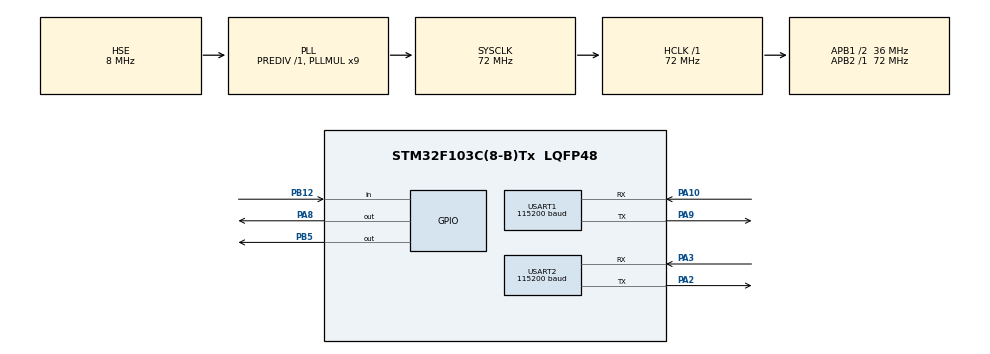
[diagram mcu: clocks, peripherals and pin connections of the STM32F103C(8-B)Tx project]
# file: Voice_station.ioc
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Dma.Request0=USART1_RX
Dma.Request1=USART1_TX
Dma.Request2=USART2_RX
Dma.Request3=USART2_TX
Dma.USART1_RX.0.Direction=DMA_PERIPH_TO_MEMORY
Dma.USART1_RX.0.Instance=DMA1_Channel5
Dma.USART1_RX.0.MemDataAlignment=DMA_MDATAALIGN_BYTE
Dma.USART1_RX.0.MemInc=DMA_MINC_ENABLE
Dma.USART1_RX.0.Mode=DMA_NORMAL
Dma.USART1_RX.0.PeriphDataAlignment=DMA_PDATAALIGN_BYTE
Dma.USART1_RX.0.PeriphInc=DMA_PINC_DISABLE
Dma.USART1_RX.0.Priority=DMA_PRIORITY_LOW
Dma.USART1_TX.1.Direction=DMA_MEMORY_TO_PERIPH
Dma.USART1_TX.1.Instance=DMA1_Channel4
Dma.USART1_TX.1.MemDataAlignment=DMA_MDATAALIGN_BYTE
Dma.USART1_TX.1.MemInc=DMA_MINC_ENABLE
Dma.USART1_TX.1.Mode=DMA_NORMAL
Dma.USART1_TX.1.PeriphDataAlignment=DMA_PDATAALIGN_BYTE
Dma.USART1_TX.1.PeriphInc=DMA_PINC_DISABLE
Dma.USART1_TX.1.Priority=DMA_PRIORITY_LOW
Dma.USART2_RX.2.Direction=DMA_PERIPH_TO_MEMORY
Dma.USART2_RX.2.Instance=DMA1_Channel6
Dma.USART2_RX.2.MemDataAlignment=DMA_MDATAALIGN_BYTE
Dma.USART2_RX.2.MemInc=DMA_MINC_ENABLE
Dma.USART2_RX.2.Mode=DMA_NORMAL
Dma.USART2_RX.2.PeriphDataAlignment=DMA_PDATAALIGN_BYTE
Dma.USART2_RX.2.PeriphInc=DMA_PINC_DISABLE
Dma.USART2_RX.2.Priority=DMA_PRIORITY_LOW
Dma.USART2_TX.3.Direction=DMA_MEMORY_TO_PERIPH
Dma.USART2_TX.3.Instance=DMA1_Channel7
Dma.USART2_TX.3.MemDataAlignment=DMA_MDATAALIGN_BYTE
Dma.USART2_TX.3.MemInc=DMA_MINC_ENABLE
Dma.USART2_TX.3.Mode=DMA_NORMAL
Dma.USART2_TX.3.PeriphDataAlignment=DMA_PDATAALIGN_BYTE
Dma.USART2_TX.3.PeriphInc=DMA_PINC_DISABLE
Dma.USART2_TX.3.Priority=DMA_PRIORITY_LOW
Mcu.Family=STM32F1
Mcu.Name=STM32F103C(8-B)Tx
Mcu.Package=LQFP48
NVIC.DMA1_Channel4_IRQn=true\:0\:0\:false\:false\:true\:false\:true\:true
NVIC.DMA1_Channel5_IRQn=true\:0\:0\:false\:false\:true\:false\:true\:true
NVIC.DMA1_Channel6_IRQn=true\:0\:0\:false\:false\:true\:false\:true\:true
NVIC.DMA1_Channel7_IRQn=true\:0\:0\:false\:false\:true\:false\:true\:true
NVIC.PriorityGroup=NVIC_PRIORITYGROUP_4
NVIC.TIM2_IRQn=true\:0\:0\:false\:false\:true\:true\:true\:true
NVIC.USART1_IRQn=true\:0\:0\:false\:false\:true\:true\:true\:true
NVIC.USART2_IRQn=true\:0\:0\:false\:false\:true\:true\:true\:true
PA10.Mode=Asynchronous
PA10.Signal=USART1_RX
PA13.Mode=Serial_Wire
PA13.Signal=SYS_JTMS-SWDIO
PA14.Mode=Serial_Wire
PA14.Signal=SYS_JTCK-SWCLK
PA2.Mode=Asynchronous
PA2.Signal=USART2_TX
PA3.Mode=Asynchronous
PA3.Signal=USART2_RX
PA8.Signal=GPIO_Output
PA9.Mode=Asynchronous
PA9.Signal=USART1_TX
PB12.GPIO_PuPd=GPIO_PULLUP
PB12.Signal=GPIO_Input
PB5.GPIO_PuPd=GPIO_NOPULL
PB5.PinState=GPIO_PIN_SET
PB5.Signal=GPIO_Output
PD0-OSC_IN.Mode=HSE-External-Oscillator
PD0-OSC_IN.Signal=RCC_OSC_IN
PD1-OSC_OUT.Mode=HSE-External-Oscillator
PD1-OSC_OUT.Signal=RCC_OSC_OUT
ProjectManager.HeapSize=0x200
ProjectManager.StackSize=0x400
ProjectManager.TargetToolchain=MDK-ARM V5
RCC.AHBFreq_Value=72000000
RCC.APB1CLKDivider=RCC_HCLK_DIV2
RCC.APB1Freq_Value=36000000
RCC.APB1TimFreq_Value=72000000
RCC.APB2Freq_Value=72000000
RCC.APB2TimFreq_Value=72000000
RCC.HCLKFreq_Value=72000000
RCC.PLLMUL=RCC_PLL_MUL9
RCC.PLLSourceVirtual=RCC_PLLSOURCE_HSE
RCC.SYSCLKFreq_VALUE=72000000
RCC.SYSCLKSource=RCC_SYSCLKSOURCE_PLLCLK
RCC.USBFreq_Value=72000000
TIM2.AutoReloadPreload=TIM_AUTORELOAD_PRELOAD_ENABLE
TIM2.Period=9
TIM2.Prescaler=7199
USART1.BaudRate=115200
USART1.VirtualMode=VM_ASYNC
USART2.BaudRate=115200
USART2.VirtualMode=VM_ASYNC
VP_TIM2_VS_ClockSourceINT.Mode=Internal
board=custom

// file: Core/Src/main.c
/* USER CODE BEGIN Header */
/**
  ******************************************************************************
  * @file           : main.c
  * @brief          : Main program body
  ******************************************************************************
  * @attention
  *
  * Copyright (c) 2025 STMicroelectronics.
  * All rights reserved.
  *
  * This software is licensed under terms that can be found in the LICENSE file
  * in the root directory of this software component.
  * If no LICENSE file comes with this software, it is provided AS-IS.
  *
  ******************************************************************************
  */
/* USER CODE END Header */
#include "main.h"
#include "dma.h"
#include "tim.h"
#include "usart.h"
#include "gpio.h"

/* USER CODE BEGIN Includes */
#include "headfile.h"
/* USER CODE END Includes */

/* USER CODE BEGIN PM */
uint8_t test=0x11;
/* USER CODE END PM */

/* USER CODE BEGIN PV */
uint8_t box_pos=0;
uint8_t box_num=0;
 char send_buffer2[50];

/* USER CODE END PV */

void SystemClock_Config(void);

int main(void)
{

  /* MCU Configuration--------------------------------------------------------*/

  /* Reset of all peripherals, Initializes the Flash interface and the Systick. */
  HAL_Init();

  /* Configure the system clock */
  SystemClock_Config();

  /* Initialize all configured peripherals */
  MX_GPIO_Init();
  MX_DMA_Init();
  MX_USART1_UART_Init();
  MX_USART2_UART_Init();
  MX_TIM2_Init();
  /* USER CODE BEGIN 2 */
	//Myusart_Init();
  HAL_TIM_Base_Start_IT(&htim2);//1msÄşĹ˝ÂÄÂĹ
  New_Myusart_Init();
	       // HAL_GPIO_TogglePin(GPIOC, GPIO_PIN_13);

  /* USER CODE END 2 */

  /* Infinite loop */
  while (1)
  {

    /* USER CODE BEGIN 3 */
	  Key();
	 // HAL_GPIO_WritePin(GPIOB, GPIO_PIN_5, GPIO_PIN_RESET);
if(Key_KeyNumber==1)
{
	HAL_GPIO_TogglePin(GPIOB,GPIO_PIN_5);
}
  if (delay_ms_nb_id(500, 0))
   {

      drone_display_task();

      if (box_pos >= 1 && box_pos <= 26)
			 {
				sprintf(send_buffer2, "state%d=%d\xFF\xFF\xFF", box_pos, box_num);
			}

//HAL_UART_Transmit_DMA(&huart1, (uint8_t*)send_buffer2, strlen(send_buffer2));

      HAL_UART_Transmit_DMA(&huart2, (uint8_t*)send_buffer1, strlen(send_buffer1));
         HAL_Delay(10);
			HAL_UART_Transmit_DMA(&huart2, (uint8_t*)send_buffer2, strlen(send_buffer2));
    //  HAL_UART_Transmit_DMA(&huart1, (uint8_t*)send_buffer1, strlen(send_buffer1));

   }

  }
  /* USER CODE END 3 */
}

void SystemClock_Config(void)
{
  RCC_OscInitTypeDef RCC_OscInitStruct = {0};
  RCC_ClkInitTypeDef RCC_ClkInitStruct = {0};

  /** Initializes the RCC Oscillators according to the specified parameters
  * in the RCC_OscInitTypeDef structure.
  */
  RCC_OscInitStruct.OscillatorType = RCC_OSCILLATORTYPE_HSE;
  RCC_OscInitStruct.HSEState = RCC_HSE_ON;
  RCC_OscInitStruct.HSEPredivValue = RCC_HSE_PREDIV_DIV1;
  RCC_OscInitStruct.HSIState = RCC_HSI_ON;
  RCC_OscInitStruct.PLL.PLLState = RCC_PLL_ON;
  RCC_OscInitStruct.PLL.PLLSource = RCC_PLLSOURCE_HSE;
  RCC_OscInitStruct.PLL.PLLMUL = RCC_PLL_MUL9;
  if (HAL_RCC_OscConfig(&RCC_OscInitStruct) != HAL_OK)
  {
    Error_Handler();
  }

  /** Initializes the CPU, AHB and APB buses clocks
  */
  RCC_ClkInitStruct.ClockType = RCC_CLOCKTYPE_HCLK|RCC_CLOCKTYPE_SYSCLK
                              |RCC_CLOCKTYPE_PCLK1|RCC_CLOCKTYPE_PCLK2;
  RCC_ClkInitStruct.SYSCLKSource = RCC_SYSCLKSOURCE_PLLCLK;
  RCC_ClkInitStruct.AHBCLKDivider = RCC_SYSCLK_DIV1;
  RCC_ClkInitStruct.APB1CLKDivider = RCC_HCLK_DIV2;
  RCC_ClkInitStruct.APB2CLKDivider = RCC_HCLK_DIV1;

  if (HAL_RCC_ClockConfig(&RCC_ClkInitStruct, FLASH_LATENCY_2) != HAL_OK)
  {
    Error_Handler();
  }
}

void Error_Handler(void)
{
  __disable_irq();
  while (1)
  {
  }
}
